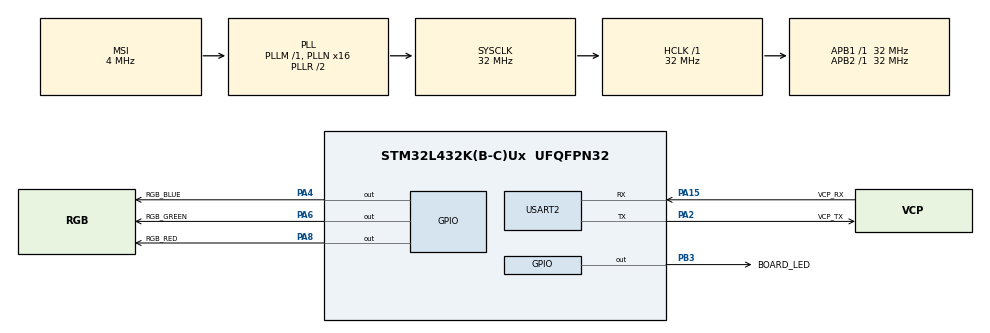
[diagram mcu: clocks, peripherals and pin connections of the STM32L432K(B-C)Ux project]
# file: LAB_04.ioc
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Mcu.Family=STM32L4
Mcu.Name=STM32L432K(B-C)Ux
Mcu.Package=UFQFPN32
NVIC.PriorityGroup=NVIC_PRIORITYGROUP_4
NVIC.TIM1_UP_TIM16_IRQn=true\:0\:0\:false\:false\:true\:true\:true
NVIC.TIM6_DAC_IRQn=true\:0\:0\:false\:false\:true\:true\:true
PA0.GPIO_Label=MCO [High speed clock in]
PA0.Mode=HSE-External-Clock-Source-for-LittleOrca
PA0.Signal=RCC_CK_IN
PA13\ (JTMS-SWDIO).GPIO_Label=SWDIO
PA13\ (JTMS-SWDIO).Mode=Serial_Wire
PA13\ (JTMS-SWDIO).Signal=SYS_JTMS-SWDIO
PA14\ (JTCK-SWCLK).GPIO_Label=SWCLK
PA14\ (JTCK-SWCLK).Mode=Serial_Wire
PA14\ (JTCK-SWCLK).Signal=SYS_JTCK-SWCLK
PA15\ (JTDI).GPIO_Label=VCP_RX
PA15\ (JTDI).Mode=Asynchronous
PA15\ (JTDI).Signal=USART2_RX
PA2.GPIO_Label=VCP_TX
PA2.Mode=Asynchronous
PA2.Signal=USART2_TX
PA4.GPIO_Label=RGB_BLUE
PA4.Signal=GPIO_Output
PA6.GPIO_Label=RGB_GREEN
PA6.Signal=GPIO_Output
PA8.GPIO_Label=RGB_RED
PA8.Signal=GPIO_Output
PB3\ (JTDO-TRACESWO).GPIO_Label=BOARD_LED
PB3\ (JTDO-TRACESWO).Signal=GPIO_Output
PC14-OSC32_IN\ (PC14).Mode=LSE-External-Oscillator
PC14-OSC32_IN\ (PC14).Signal=RCC_OSC32_IN
PC15-OSC32_OUT\ (PC15).Mode=LSE-External-Oscillator
PC15-OSC32_OUT\ (PC15).Signal=RCC_OSC32_OUT
ProjectManager.HeapSize=0x200
ProjectManager.StackSize=0x400
ProjectManager.TargetToolchain=STM32CubeIDE
RCC.AHBFreq_Value=32000000
RCC.APB1Freq_Value=32000000
RCC.APB1TimFreq_Value=32000000
RCC.APB2Freq_Value=32000000
RCC.APB2TimFreq_Value=32000000
RCC.CortexFreq_Value=32000000
RCC.HCLKFreq_Value=32000000
RCC.HSI16_VALUE=16000000
RCC.HSI48_VALUE=48000000
RCC.HSI_VALUE=16000000
RCC.MSI_VALUE=4000000
RCC.PLLMUL=RCC_PLLMUL_4
RCC.PLLN=16
RCC.SYSCLKFreq_VALUE=32000000
RCC.SYSCLKSource=RCC_SYSCLKSOURCE_PLLCLK
RCC.VCOOutputFreq_Value=64000000
TIM16.AutoReloadPreload=TIM_AUTORELOAD_PRELOAD_ENABLE
TIM16.Period=1000-1
TIM16.Prescaler=32000-1
TIM6.AutoReloadPreload=TIM_AUTORELOAD_PRELOAD_ENABLE
TIM6.Period=1000-1
TIM6.Prescaler=32000-1
USART2.VirtualMode-Asynchronous=VM_ASYNC
VP_TIM16_VS_ClockSourceINT.Mode=Enable_Timer
VP_TIM6_VS_ClockSourceINT.Mode=Enable_Timer
board=NUCLEO-L432KC

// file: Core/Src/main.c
_/* USER CODE BEGIN Header */
/**
  ******************************************************************************
  * @file           : main.c
  * @brief          : Main program body
  ******************************************************************************
  * @attention
  *
  * <h2><center>&copy; Copyright (c) 2021 STMicroelectronics.
  * All rights reserved.</center></h2>
  *
  * This software component is licensed by ST under BSD 3-Clause license,
  * the "License"; You may not use this file except in compliance with the
  * License. You may obtain a copy of the License at:
  *                        opensource.org/licenses/BSD-3-Clause
  *
  ******************************************************************************
  */
/* USER CODE END Header */
#include "main.h"

TIM_HandleTypeDef htim6;
TIM_HandleTypeDef htim16;

UART_HandleTypeDef huart2;

/* USER CODE BEGIN PV */
uint8_t flag = 0;
uint8_t switcher = 0;
GPIO_TypeDef * current_Port = 0;
uint16_t current_Pin = 0;
enum switcher {
		RED,
		GREEN,
		BLUE
};
/* USER CODE END PV */

void SystemClock_Config(void);
static void MX_GPIO_Init(void);
static void MX_USART2_UART_Init(void);
static void MX_TIM6_Init(void);
static void MX_TIM16_Init(void);

int main(void)
{

  /* MCU Configuration--------------------------------------------------------*/

  /* Reset of all peripherals, Initializes the Flash interface and the Systick. */
  HAL_Init();

  /* Configure the system clock */
  SystemClock_Config();

  /* Initialize all configured peripherals */
  MX_GPIO_Init();
  MX_USART2_UART_Init();
  MX_TIM6_Init();
  MX_TIM16_Init();
  /* USER CODE BEGIN 2 */
  // Timer6 Enable & Timer6 Interrupt Enable using direct register access
  //
  // TIM6->CR1 |= 0x1;
  // TIM6->DDIER |= 0x01;

  // Alternative using a HAL function
  HAL_TIM_Base_Start_IT(&htim6);
  HAL_TIM_Base_Start_IT(&htim16);
  HAL_GPIO_WritePin(RGB_RED_GPIO_Port, RGB_RED_Pin, GPIO_PIN_SET);
  HAL_GPIO_WritePin(RGB_GREEN_GPIO_Port, RGB_GREEN_Pin, GPIO_PIN_SET);
  HAL_GPIO_WritePin(RGB_BLUE_GPIO_Port, RGB_BLUE_Pin, GPIO_PIN_SET);
  /* USER CODE END 2 */

  /* Infinite loop */
  /* USER CODE BEGIN WHILE */
  while (1)
  {
	  if (flag) {
		  // Deactivate previous LED
		  HAL_GPIO_WritePin(current_Port, current_Pin, GPIO_PIN_SET);
		  // Set next LED
		  switch(switcher) {
		  	  case RED:
		  		  current_Port = RGB_RED_GPIO_Port;
		  		  current_Pin = RGB_RED_Pin;
		  		  break;
		  	  case GREEN:
		  		  current_Port = RGB_GREEN_GPIO_Port;
		  		  current_Pin = RGB_GREEN_Pin;
		  		  break;
		  	  case BLUE:
		  		  current_Port = RGB_BLUE_GPIO_Port;
		  		  current_Pin = RGB_BLUE_Pin;
		  		  break;
		  	  }
		  // Activate current LED
		  HAL_GPIO_WritePin(current_Port, current_Pin, GPIO_PIN_RESET);
//		  HAL_GPIO_TogglePin(LED_GPIO_Port, LED_Pin);
		  flag = 0;
		  if(switcher == 3) {
			  HAL_GPIO_WritePin(current_Port, current_Pin, GPIO_PIN_SET);
		  }
		  switcher++;
		  if(switcher > 3) {
			  switcher = 0;
		  }
	  }
    /* USER CODE END WHILE */

  }
}

void SystemClock_Config(void)
{
  RCC_OscInitTypeDef RCC_OscInitStruct = {0};
  RCC_ClkInitTypeDef RCC_ClkInitStruct = {0};

  /** Configure the main internal regulator output voltage
  */
  if (HAL_PWREx_ControlVoltageScaling(PWR_REGULATOR_VOLTAGE_SCALE1) != HAL_OK)
  {
    Error_Handler();
  }
  /** Configure LSE Drive Capability
  */
  HAL_PWR_EnableBkUpAccess();
  __HAL_RCC_LSEDRIVE_CONFIG(RCC_LSEDRIVE_LOW);
  /** Initializes the RCC Oscillators according to the specified parameters
  * in the RCC_OscInitTypeDef structure.
  */
  RCC_OscInitStruct.OscillatorType = RCC_OSCILLATORTYPE_LSE|RCC_OSCILLATORTYPE_MSI;
  RCC_OscInitStruct.LSEState = RCC_LSE_ON;
  RCC_OscInitStruct.MSIState = RCC_MSI_ON;
  RCC_OscInitStruct.MSICalibrationValue = 0;
  RCC_OscInitStruct.MSIClockRange = RCC_MSIRANGE_6;
  RCC_OscInitStruct.PLL.PLLState = RCC_PLL_ON;
  RCC_OscInitStruct.PLL.PLLSource = RCC_PLLSOURCE_MSI;
  RCC_OscInitStruct.PLL.PLLM = 1;
  RCC_OscInitStruct.PLL.PLLN = 16;
  RCC_OscInitStruct.PLL.PLLP = RCC_PLLP_DIV7;
  RCC_OscInitStruct.PLL.PLLQ = RCC_PLLQ_DIV2;
  RCC_OscInitStruct.PLL.PLLR = RCC_PLLR_DIV2;
  if (HAL_RCC_OscConfig(&RCC_OscInitStruct) != HAL_OK)
  {
    Error_Handler();
  }
  /** Initializes the CPU, AHB and APB buses clocks
  */
  RCC_ClkInitStruct.ClockType = RCC_CLOCKTYPE_HCLK|RCC_CLOCKTYPE_SYSCLK
                              |RCC_CLOCKTYPE_PCLK1|RCC_CLOCKTYPE_PCLK2;
  RCC_ClkInitStruct.SYSCLKSource = RCC_SYSCLKSOURCE_PLLCLK;
  RCC_ClkInitStruct.AHBCLKDivider = RCC_SYSCLK_DIV1;
  RCC_ClkInitStruct.APB1CLKDivider = RCC_HCLK_DIV1;
  RCC_ClkInitStruct.APB2CLKDivider = RCC_HCLK_DIV1;

  if (HAL_RCC_ClockConfig(&RCC_ClkInitStruct, FLASH_LATENCY_1) != HAL_OK)
  {
    Error_Handler();
  }
  /** Enable MSI Auto calibration
  */
  HAL_RCCEx_EnableMSIPLLMode();
}

static void MX_TIM6_Init(void)
{

  TIM_MasterConfigTypeDef sMasterConfig = {0};

  htim6.Instance = TIM6;
  htim6.Init.Prescaler = 32000-1;
  htim6.Init.CounterMode = TIM_COUNTERMODE_UP;
  htim6.Init.Period = 1000-1;
  htim6.Init.AutoReloadPreload = TIM_AUTORELOAD_PRELOAD_ENABLE;
  if (HAL_TIM_Base_Init(&htim6) != HAL_OK)
  {
    Error_Handler();
  }
  sMasterConfig.MasterOutputTrigger = TIM_TRGO_RESET;
  sMasterConfig.MasterSlaveMode = TIM_MASTERSLAVEMODE_DISABLE;
  if (HAL_TIMEx_MasterConfigSynchronization(&htim6, &sMasterConfig) != HAL_OK)
  {
    Error_Handler();
  }

}

static void MX_TIM16_Init(void)
{

  htim16.Instance = TIM16;
  htim16.Init.Prescaler = 32000-1;
  htim16.Init.CounterMode = TIM_COUNTERMODE_UP;
  htim16.Init.Period = 1000-1;
  htim16.Init.ClockDivision = TIM_CLOCKDIVISION_DIV1;
  htim16.Init.RepetitionCounter = 0;
  htim16.Init.AutoReloadPreload = TIM_AUTORELOAD_PRELOAD_ENABLE;
  if (HAL_TIM_Base_Init(&htim16) != HAL_OK)
  {
    Error_Handler();
  }

}

static void MX_USART2_UART_Init(void)
{

  huart2.Instance = USART2;
  huart2.Init.BaudRate = 115200;
  huart2.Init.WordLength = UART_WORDLENGTH_8B;
  huart2.Init.StopBits = UART_STOPBITS_1;
  huart2.Init.Parity = UART_PARITY_NONE;
  huart2.Init.Mode = UART_MODE_TX_RX;
  huart2.Init.HwFlowCtl = UART_HWCONTROL_NONE;
  huart2.Init.OverSampling = UART_OVERSAMPLING_16;
  huart2.Init.OneBitSampling = UART_ONE_BIT_SAMPLE_DISABLE;
  huart2.AdvancedInit.AdvFeatureInit = UART_ADVFEATURE_NO_INIT;
  if (HAL_UART_Init(&huart2) != HAL_OK)
  {
    Error_Handler();
  }

}

static void MX_GPIO_Init(void)
{
  GPIO_InitTypeDef GPIO_InitStruct = {0};

  /* GPIO Ports Clock Enable */
  __HAL_RCC_GPIOC_CLK_ENABLE();
  __HAL_RCC_GPIOA_CLK_ENABLE();
  __HAL_RCC_GPIOB_CLK_ENABLE();

  /*Configure GPIO pin Output Level */
  HAL_GPIO_WritePin(GPIOA, RGB_BLUE_Pin|RGB_GREEN_Pin|RGB_RED_Pin, GPIO_PIN_RESET);

  /*Configure GPIO pin Output Level */
  HAL_GPIO_WritePin(BOARD_LED_GPIO_Port, BOARD_LED_Pin, GPIO_PIN_RESET);

  /*Configure GPIO pins : RGB_BLUE_Pin RGB_GREEN_Pin RGB_RED_Pin */
  GPIO_InitStruct.Pin = RGB_BLUE_Pin|RGB_GREEN_Pin|RGB_RED_Pin;
  GPIO_InitStruct.Mode = GPIO_MODE_OUTPUT_PP;
  GPIO_InitStruct.Pull = GPIO_NOPULL;
  GPIO_InitStruct.Speed = GPIO_SPEED_FREQ_LOW;
  HAL_GPIO_Init(GPIOA, &GPIO_InitStruct);

  /*Configure GPIO pin : BOARD_LED_Pin */
  GPIO_InitStruct.Pin = BOARD_LED_Pin;
  GPIO_InitStruct.Mode = GPIO_MODE_OUTPUT_PP;
  GPIO_InitStruct.Pull = GPIO_NOPULL;
  GPIO_InitStruct.Speed = GPIO_SPEED_FREQ_LOW;
  HAL_GPIO_Init(BOARD_LED_GPIO_Port, &GPIO_InitStruct);

}

/* USER CODE BEGIN 4 */
void HAL_TIM_PeriodElapsedCallback(TIM_HandleTypeDef *htim) {
	if (htim == & htim6) {
		HAL_GPIO_TogglePin(BOARD_LED_GPIO_Port, BOARD_LED_Pin);
	} else if (htim == & htim16) {
		flag = 1;
	}
}
/* USER CODE END 4 */

void Error_Handler(void)
{
  __disable_irq();
  while (1)
  {
  }
}

/************************ (C) COPYRIGHT STMicroelectronics *****END OF FILE****/
